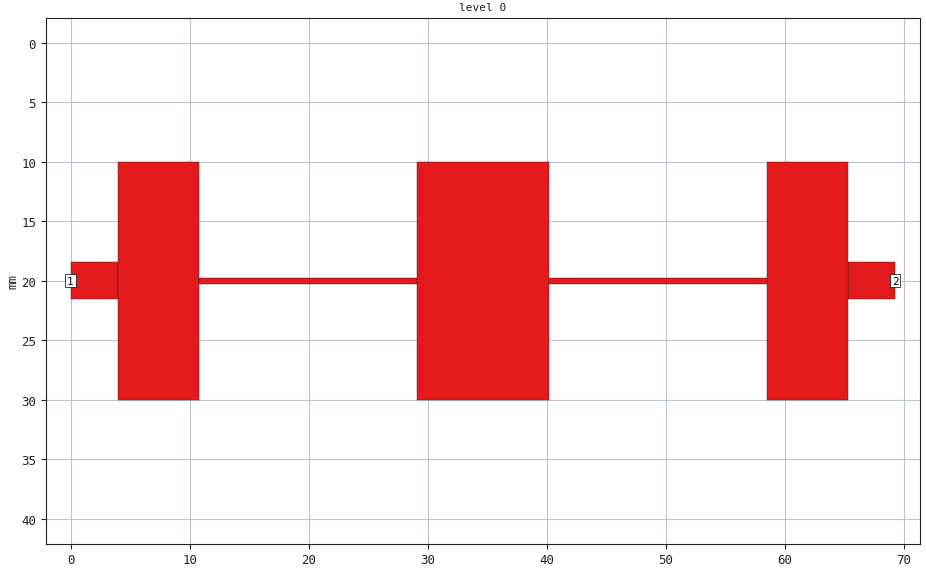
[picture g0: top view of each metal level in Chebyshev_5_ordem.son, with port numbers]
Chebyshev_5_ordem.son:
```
FTYP SONPROJ 13 ! Sonnet Project File
VER 15.53.lite
HEADER
LIC SL290709.106431 847bebfebdba DESKTOP-1CMJ3DP Arihe
DAT 05/13/2019 03:11:10
BUILT_BY_CREATED xgeom 15.53-Lite 04/13/2019 20:59:13
BUILT_BY_SAVED xgeom 15.53-Lite
MDATE 05/13/2019 03:11:10
HDATE 05/13/2019 03:11:10
END HEADER
DIM
FREQ GHZ
RSVY OHMM
IND NH
LNG MM
ANG DEG
CON /OH
CAP PF
RES OH
END DIM
FREQ
ABS 1.0e-9 3.0 
END FREQ
CONTROL
ABS
OPTIONS  -dj 
SPEED 0
CACHE_ABS 1
TARG_ABS 300
Q_ACC N
END CONTROL
GEO
DRP1 LEFT LINK
POLY 12 1
1
DRP1 RIGHT LINK
POLY 14 1
0
TMET "Lossless" 0 SUP 0 0 0 0
BMET "Lossless" 0 SUP 0 0 0 0
MET "Copper" 1 NOR 58000000 0 0.0347 
BOX 1 69.3 40 1386 160 20 0
      20 1 1 0 0 0 0 "Air"
      1.5306 4.1 1 0.02 0 0 0 "FR-4"
LORGN 0 40 U 
POR1 STD
POLY 12 1
3
1 50 0 0 0 -1.484743677e-006 20 
POR1 STD
POLY 14 1
1
2 50 0 0 0 69.29999852 20 
NUM 7
0 5 0 N 12 1 1 100 100 0 0 0 Y
-1.484743677e-006 18.45
3.999998515 18.45
3.999998515 21.55
-1.484743677e-006 21.55
-1.484743677e-006 18.45
END
0 5 0 N 14 1 1 100 100 0 0 0 Y
65.29999852 18.45
69.29999852 18.45
69.29999852 21.55
65.29999852 21.55
65.29999852 18.45
END
0 5 0 N 28 1 1 100 100 0 0 0 Y
4.000000742 10
10.80000074 10
10.80000074 30
4.000000742 30
4.000000742 10
END
0 5 0 N 29 1 1 100 100 0 0 0 Y
58.50000074 10
65.30000074 10
65.30000074 30
58.50000074 30
58.50000074 10
END
0 5 0 N 32 1 1 100 100 0 0 0 Y
29.10000074 10
40.20000074 10
40.20000074 30
29.10000074 30
29.10000074 10
END
0 5 0 N 35 1 1 100 100 0 0 0 Y
10.80000074 19.75
29.10000074 19.75
29.10000074 20.25
10.80000074 20.25
10.80000074 19.75
END
0 5 0 N 36 1 1 100 100 0 0 0 Y
40.20000074 19.75
58.50000074 19.75
58.50000074 20.25
40.20000074 20.25
40.20000074 19.75
END
END GEO
OPT
MAX 100
VARS
END
END OPT
VARSWP
END VARSWP
QSG
IMPORT NO
EXTRA_METAL NO
UNITS YES
ALIGN NO
REF NO
VIEW_RES NO
METALS YES
USED NO
END QSG
```
